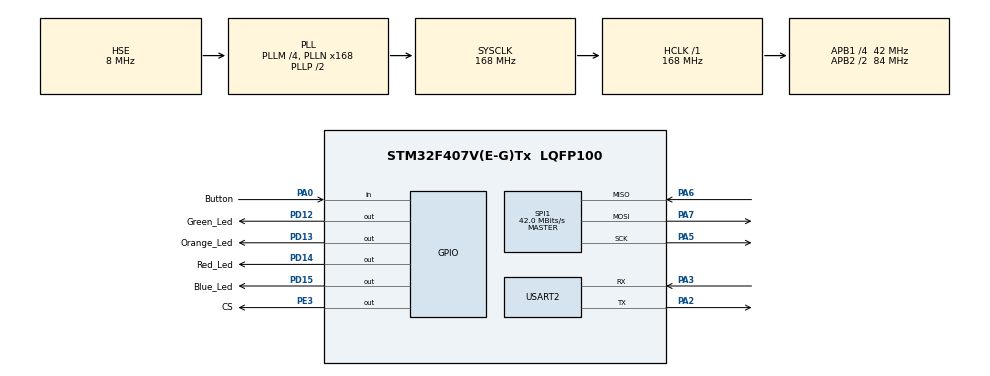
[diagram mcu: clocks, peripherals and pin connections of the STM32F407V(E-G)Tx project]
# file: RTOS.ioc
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FREERTOS.Mutexes01=dataMutex,Dynamic,NULL,Available
FREERTOS.Queues01=displayQueue,8,SystemData_t,0,Dynamic,NULL,NULL;flashQueue,8,SystemData_t,0,Dynamic,NULL,NULL
FREERTOS.Tasks01=orangeLed,32,128,StartDefaultTask,Default,NULL,Dynamic,NULL,NULL;greenLed,32,128,StartTask02,Default,NULL,Dynamic,NULL,NULL;redLed,32,128,StartTask03,Default,NULL,Dynamic,NULL,NULL;blueLed,32,128,StartTask04,Default,NULL,Dynamic,NULL,NULL;button,32,128,StartTask05,Default,NULL,Dynamic,NULL,NULL;gyro,32,128,StartTask06,Default,NULL,Dynamic,NULL,NULL;displayTask,24,512,StartDisplayTask,Default,NULL,Dynamic,NULL,NULL;flashTask,8,512,StartFlashTask,Default,NULL,Dynamic,NULL,NULL
FREERTOS.configCHECK_FOR_STACK_OVERFLOW=2
FREERTOS.configUSE_NEWLIB_REENTRANT=1
Mcu.Family=STM32F4
Mcu.Name=STM32F407V(E-G)Tx
Mcu.Package=LQFP100
NVIC.PriorityGroup=NVIC_PRIORITYGROUP_4
NVIC.TIM6_DAC_IRQn=true\:15\:0\:false\:false\:true\:false\:false\:true\:true
NVIC.TimeBase=TIM6_DAC_IRQn
NVIC.TimeBaseIP=TIM6
PA0-WKUP.GPIO_Label=Button
PA0-WKUP.Signal=GPIO_Input
PA13.Mode=Serial_Wire
PA13.Signal=SYS_JTMS-SWDIO
PA14.Mode=Serial_Wire
PA14.Signal=SYS_JTCK-SWCLK
PA2.Mode=Asynchronous
PA2.Signal=USART2_TX
PA3.Mode=Asynchronous
PA3.Signal=USART2_RX
PA5.Mode=Full_Duplex_Master
PA5.Signal=SPI1_SCK
PA6.Mode=Full_Duplex_Master
PA6.Signal=SPI1_MISO
PA7.Mode=Full_Duplex_Master
PA7.Signal=SPI1_MOSI
PD12.GPIO_Label=Green_Led
PD12.Signal=GPIO_Output
PD13.GPIO_Label=Orange_Led
PD13.Signal=GPIO_Output
PD14.GPIO_Label=Red_Led
PD14.Signal=GPIO_Output
PD15.GPIO_Label=Blue_Led
PD15.Signal=GPIO_Output
PE3.GPIO_Label=CS
PE3.PinState=GPIO_PIN_SET
PE3.Signal=GPIO_Output
PH0-OSC_IN.Mode=HSE-External-Oscillator
PH0-OSC_IN.Signal=RCC_OSC_IN
PH1-OSC_OUT.Mode=HSE-External-Oscillator
PH1-OSC_OUT.Signal=RCC_OSC_OUT
ProjectManager.HeapSize=0x200
ProjectManager.StackSize=0x400
ProjectManager.TargetToolchain=STM32CubeIDE
RCC.48MHZClocksFreq_Value=84000000
RCC.AHBFreq_Value=168000000
RCC.APB1CLKDivider=RCC_HCLK_DIV4
RCC.APB1Freq_Value=42000000
RCC.APB1TimFreq_Value=84000000
RCC.APB2CLKDivider=RCC_HCLK_DIV2
RCC.APB2Freq_Value=84000000
RCC.APB2TimFreq_Value=168000000
RCC.CortexFreq_Value=168000000
RCC.HCLKFreq_Value=168000000
RCC.HSE_VALUE=8000000
RCC.HSI_VALUE=16000000
RCC.LSE_VALUE=32768
RCC.PLLM=4
RCC.PLLN=168
RCC.PLLSourceVirtual=RCC_PLLSOURCE_HSE
RCC.SYSCLKFreq_VALUE=168000000
RCC.SYSCLKSource=RCC_SYSCLKSOURCE_PLLCLK
RCC.VCOOutputFreq_Value=336000000
SPI1.BaudRatePrescaler=SPI_BAUDRATEPRESCALER_2
SPI1.CLKPhase=SPI_PHASE_2EDGE
SPI1.CLKPolarity=SPI_POLARITY_LOW
SPI1.CalculateBaudRate=42.0 MBits/s
SPI1.Direction=SPI_DIRECTION_2LINES
SPI1.Mode=SPI_MODE_MASTER
SPI1.VirtualType=VM_MASTER
USART2.VirtualMode=VM_ASYNC
VP_FREERTOS_VS_CMSIS_V2.Mode=CMSIS_V2
VP_SYS_VS_tim6.Mode=TIM6
board=custom

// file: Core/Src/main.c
/* USER CODE BEGIN Header */
/**
  ******************************************************************************
  * @file           : main.c
  * @brief          : Main program body
  ******************************************************************************
  * @attention
  *
  * Copyright (c) 2026 STMicroelectronics.
  * All rights reserved.
  *
  * This software is licensed under terms that can be found in the LICENSE file
  * in the root directory of this software component.
  * If no LICENSE file comes with this software, it is provided AS-IS.
  *
  ******************************************************************************
  */
/* USER CODE END Header */
#include "main.h"
#include "cmsis_os.h"

/* USER CODE BEGIN Includes */

#include <stdio.h>
#include <string.h>
#include <stddef.h>

/* USER CODE END Includes */

/* USER CODE BEGIN PTD */

typedef struct
{
    uint32_t time_ms;

    int8_t acc_x;
    int8_t acc_y;
    int8_t acc_z;

    uint8_t motion_detected;
    uint8_t accel_ok;
    uint8_t green_led_state;

} SystemData_t;

typedef struct __attribute__((packed, aligned(4)))
{
    uint32_t magic;
    uint32_t time_ms;

    int8_t acc_x;
    int8_t acc_y;
    int8_t acc_z;

    uint8_t motion_detected;
    uint8_t accel_ok;
    uint8_t green_led_state;

    uint16_t crc;

} FlashRecord_t;

/* USER CODE END PTD */

/* USER CODE BEGIN PD */

#define FLASH_LOG_MAGIC          0x53454E53U

/*
 * STM32F407VGT6 1 MB flash için son sektör.
 * Sektör 11:
 * Başlangıç: 0x080E0000
 * Bitiş:     0x08100000
 */
#define FLASH_LOG_START_ADDRESS  0x080E0000U
#define FLASH_LOG_END_ADDRESS    0x08100000U

/* USER CODE END PD */

SPI_HandleTypeDef hspi1;

UART_HandleTypeDef huart2;

/* Definitions for orangeLed */
osThreadId_t orangeLedHandle;
const osThreadAttr_t orangeLed_attributes = {
  .name = "orangeLed",
  .stack_size = 128 * 4,
  .priority = (osPriority_t) osPriorityAboveNormal,
};
/* Definitions for greenLed */
osThreadId_t greenLedHandle;
const osThreadAttr_t greenLed_attributes = {
  .name = "greenLed",
  .stack_size = 128 * 4,
  .priority = (osPriority_t) osPriorityAboveNormal,
};
/* Definitions for redLed */
osThreadId_t redLedHandle;
const osThreadAttr_t redLed_attributes = {
  .name = "redLed",
  .stack_size = 128 * 4,
  .priority = (osPriority_t) osPriorityAboveNormal,
};
/* Definitions for blueLed */
osThreadId_t blueLedHandle;
const osThreadAttr_t blueLed_attributes = {
  .name = "blueLed",
  .stack_size = 128 * 4,
  .priority = (osPriority_t) osPriorityAboveNormal,
};
/* Definitions for button */
osThreadId_t buttonHandle;
const osThreadAttr_t button_attributes = {
  .name = "button",
  .stack_size = 128 * 4,
  .priority = (osPriority_t) osPriorityAboveNormal,
};
/* Definitions for gyro */
osThreadId_t gyroHandle;
const osThreadAttr_t gyro_attributes = {
  .name = "gyro",
  .stack_size = 128 * 4,
  .priority = (osPriority_t) osPriorityAboveNormal,
};
/* Definitions for displayTask */
osThreadId_t displayTaskHandle;
const osThreadAttr_t displayTask_attributes = {
  .name = "displayTask",
  .stack_size = 512 * 4,
  .priority = (osPriority_t) osPriorityNormal,
};
/* Definitions for flashTask */
osThreadId_t flashTaskHandle;
const osThreadAttr_t flashTask_attributes = {
  .name = "flashTask",
  .stack_size = 512 * 4,
  .priority = (osPriority_t) osPriorityLow,
};
/* Definitions for displayQueue */
osMessageQueueId_t displayQueueHandle;
const osMessageQueueAttr_t displayQueue_attributes = {
  .name = "displayQueue"
};
/* Definitions for flashQueue */
osMessageQueueId_t flashQueueHandle;
const osMessageQueueAttr_t flashQueue_attributes = {
  .name = "flashQueue"
};
/* Definitions for dataMutex */
osMutexId_t dataMutexHandle;
const osMutexAttr_t dataMutex_attributes = {
  .name = "dataMutex"
};
/* USER CODE BEGIN PV */

volatile uint8_t accel_ok = 0;
volatile uint8_t motion_detected = 0;
volatile uint8_t green_led_state = 0;

int8_t acc_x, acc_y, acc_z;

uint32_t flash_write_address = FLASH_LOG_START_ADDRESS;

/* USER CODE END PV */

void SystemClock_Config(void);
static void MX_GPIO_Init(void);
static void MX_SPI1_Init(void);
static void MX_USART2_UART_Init(void);
void StartDefaultTask(void *argument);
void StartTask02(void *argument);
void StartTask03(void *argument);
void StartTask04(void *argument);
void StartTask05(void *argument);
void StartTask06(void *argument);
void StartDisplayTask(void *argument);
void StartFlashTask(void *argument);

/* USER CODE BEGIN PFP */

static void Telemetry_SendJson(const SystemData_t *data);

static uint16_t Flash_CalculateCrc(
    const uint8_t *data,
    uint32_t length
);

static void FlashLog_Init(void);
static HAL_StatusTypeDef FlashLog_Erase(void);

static HAL_StatusTypeDef FlashLog_Append(
    const SystemData_t *data
);

/* USER CODE END PFP */

/* USER CODE BEGIN 0 */

#define LIS302DL_WHO_AM_I     0x0F
#define LIS302DL_CTRL_REG1    0x20
#define LIS302DL_OUT_X        0x29
#define LIS302DL_OUT_Y        0x2B
#define LIS302DL_OUT_Z        0x2D

#define LIS302DL_READ         0x80
#define LIS302DL_WHO_VALUE    0x3B

void LIS302DL_Write(uint8_t reg, uint8_t data)
{
    HAL_GPIO_WritePin(CS_GPIO_Port, CS_Pin, GPIO_PIN_RESET);
    HAL_SPI_Transmit(&hspi1, &reg, 1, HAL_MAX_DELAY);
    HAL_SPI_Transmit(&hspi1, &data, 1, HAL_MAX_DELAY);
    HAL_GPIO_WritePin(CS_GPIO_Port, CS_Pin, GPIO_PIN_SET);
}

uint8_t LIS302DL_Read(uint8_t reg)
{
    uint8_t tx[2] = {reg | 0x80, 0x00};
    uint8_t rx[2] = {0};

    HAL_GPIO_WritePin(CS_GPIO_Port, CS_Pin, GPIO_PIN_RESET);
    HAL_SPI_TransmitReceive(&hspi1, tx, rx, 2, HAL_MAX_DELAY);
    HAL_GPIO_WritePin(CS_GPIO_Port, CS_Pin, GPIO_PIN_SET);

    return rx[1];
}

uint8_t LIS302DL_Init(void)
{
    uint8_t id = LIS302DL_Read(LIS302DL_WHO_AM_I);

    if(id == 0x3B || id == 0x3F)
    {
        LIS302DL_Write(LIS302DL_CTRL_REG1, 0x47);
        return 1;
    }

    return 0;
}

static void Telemetry_SendJson(const SystemData_t *data)
{
    char message[160];

    int length = snprintf(
        message,
        sizeof(message),

        "{\"time\":%lu,"
        "\"x\":%d,"
        "\"y\":%d,"
        "\"z\":%d,"
        "\"motion\":%u,"
        "\"sensor_ok\":%u,"
        "\"green\":%u}\r\n",

        (unsigned long)data->time_ms,

        (int)data->acc_x,
        (int)data->acc_y,
        (int)data->acc_z,

        (unsigned int)data->motion_detected,
        (unsigned int)data->accel_ok,
        (unsigned int)data->green_led_state
    );

    if(length <= 0)
    {
        return;
    }

    if(length >= sizeof(message))
    {
        return;
    }

    HAL_UART_Transmit(
        &huart2,
        (uint8_t *)message,
        (uint16_t)length,
        100
    );
}

static uint16_t Flash_CalculateCrc(
    const uint8_t *data,
    uint32_t length
)
{
    uint16_t crc = 0xFFFF;

    for(uint32_t index = 0; index < length; index++)
    {
        crc ^= ((uint16_t)data[index] << 8);

        for(uint8_t bit = 0; bit < 8; bit++)
        {
            if(crc & 0x8000)
            {
                crc = (crc << 1) ^ 0x1021;
            }
            else
            {
                crc = crc << 1;
            }
        }
    }

    return crc;
}

static void FlashLog_Init(void)
{
    FlashRecord_t record;

    flash_write_address = FLASH_LOG_START_ADDRESS;

    while(
        flash_write_address + sizeof(FlashRecord_t)
        <= FLASH_LOG_END_ADDRESS
    )
    {
        memcpy(
            &record,
            (const void *)flash_write_address,
            sizeof(FlashRecord_t)
        );

        if(record.magic != FLASH_LOG_MAGIC)
        {
            break;
        }

        uint16_t calculated_crc =
            Flash_CalculateCrc(
                (const uint8_t *)&record,
                offsetof(FlashRecord_t, crc)
            );

        if(record.crc != calculated_crc)
        {
            break;
        }

        flash_write_address += sizeof(FlashRecord_t);
    }
}

static HAL_StatusTypeDef FlashLog_Erase(void)
{
    FLASH_EraseInitTypeDef erase_config;

    uint32_t sector_error = 0;

    memset(
        &erase_config,
        0,
        sizeof(erase_config)
    );

    erase_config.TypeErase =
        FLASH_TYPEERASE_SECTORS;

    erase_config.Sector =
        FLASH_SECTOR_11;

    erase_config.NbSectors = 1;

    erase_config.VoltageRange =
        FLASH_VOLTAGE_RANGE_3;

    HAL_FLASH_Unlock();

    HAL_StatusTypeDef status =
        HAL_FLASHEx_Erase(
            &erase_config,
            &sector_error
        );

    HAL_FLASH_Lock();

    if(status == HAL_OK)
    {
        flash_write_address =
            FLASH_LOG_START_ADDRESS;
    }

    return status;
}

static HAL_StatusTypeDef FlashLog_Append(
    const SystemData_t *data
)
{
    if(
        flash_write_address + sizeof(FlashRecord_t)
        > FLASH_LOG_END_ADDRESS
    )
    {
        if(FlashLog_Erase() != HAL_OK)
        {
            return HAL_ERROR;
        }
    }

    FlashRecord_t record;

    memset(
        &record,
        0,
        sizeof(record)
    );

    record.magic = FLASH_LOG_MAGIC;
    record.time_ms = data->time_ms;

    record.acc_x = data->acc_x;
    record.acc_y = data->acc_y;
    record.acc_z = data->acc_z;

    record.motion_detected =
        data->motion_detected;

    record.accel_ok =
        data->accel_ok;

    record.green_led_state =
        data->green_led_state;

    record.crc =
        Flash_CalculateCrc(
            (const uint8_t *)&record,
            offsetof(FlashRecord_t, crc)
        );

    HAL_FLASH_Unlock();

    HAL_StatusTypeDef status = HAL_OK;

    const uint32_t *words =
        (const uint32_t *)&record;

    uint32_t word_count =
        sizeof(FlashRecord_t) / sizeof(uint32_t);

    for(uint32_t index = 0; index < word_count; index++)
    {
        status = HAL_FLASH_Program(
            FLASH_TYPEPROGRAM_WORD,

            flash_write_address
            + index * sizeof(uint32_t),

            words[index]
        );

        if(status != HAL_OK)
        {
            break;
        }
    }

    HAL_FLASH_Lock();

    if(status == HAL_OK)
    {
        flash_write_address +=
            sizeof(FlashRecord_t);
    }

    return status;
}

/* USER CODE END 0 */

int main(void)
{

  /* MCU Configuration--------------------------------------------------------*/

  /* Reset of all peripherals, Initializes the Flash interface and the Systick. */
  HAL_Init();

  /* Configure the system clock */
  SystemClock_Config();

  /* Initialize all configured peripherals */
  MX_GPIO_Init();
  MX_SPI1_Init();
  MX_USART2_UART_Init();
  /* USER CODE BEGIN 2 */

  FlashLog_Init();

  /* USER CODE END 2 */

  /* Init scheduler */
  osKernelInitialize();
  /* Create the mutex(es) */
  /* creation of dataMutex */
  dataMutexHandle = osMutexNew(&dataMutex_attributes);

  /* Create the queue(s) */
  /* creation of displayQueue */
  displayQueueHandle = osMessageQueueNew (8, sizeof(SystemData_t), &displayQueue_attributes);

  /* creation of flashQueue */
  flashQueueHandle = osMessageQueueNew (8, sizeof(SystemData_t), &flashQueue_attributes);

  /* Create the thread(s) */
  /* creation of orangeLed */
  orangeLedHandle = osThreadNew(StartDefaultTask, NULL, &orangeLed_attributes);

  /* creation of greenLed */
  greenLedHandle = osThreadNew(StartTask02, NULL, &greenLed_attributes);

  /* creation of redLed */
  redLedHandle = osThreadNew(StartTask03, NULL, &redLed_attributes);

  /* creation of blueLed */
  blueLedHandle = osThreadNew(StartTask04, NULL, &blueLed_attributes);

  /* creation of button */
  buttonHandle = osThreadNew(StartTask05, NULL, &button_attributes);

  /* creation of gyro */
  gyroHandle = osThreadNew(StartTask06, NULL, &gyro_attributes);

  /* creation of displayTask */
  displayTaskHandle = osThreadNew(StartDisplayTask, NULL, &displayTask_attributes);

  /* creation of flashTask */
  flashTaskHandle = osThreadNew(StartFlashTask, NULL, &flashTask_attributes);

  /* Start scheduler */
  osKernelStart();

  /* We should never get here as control is now taken by the scheduler */

  /* Infinite loop */
  while (1)
  {

  }
}

void SystemClock_Config(void)
{
  RCC_OscInitTypeDef RCC_OscInitStruct = {0};
  RCC_ClkInitTypeDef RCC_ClkInitStruct = {0};

  /** Configure the main internal regulator output voltage
  */
  __HAL_RCC_PWR_CLK_ENABLE();
  __HAL_PWR_VOLTAGESCALING_CONFIG(PWR_REGULATOR_VOLTAGE_SCALE1);

  /** Initializes the RCC Oscillators according to the specified parameters
  * in the RCC_OscInitTypeDef structure.
  */
  RCC_OscInitStruct.OscillatorType = RCC_OSCILLATORTYPE_HSE;
  RCC_OscInitStruct.HSEState = RCC_HSE_ON;
  RCC_OscInitStruct.PLL.PLLState = RCC_PLL_ON;
  RCC_OscInitStruct.PLL.PLLSource = RCC_PLLSOURCE_HSE;
  RCC_OscInitStruct.PLL.PLLM = 4;
  RCC_OscInitStruct.PLL.PLLN = 168;
  RCC_OscInitStruct.PLL.PLLP = RCC_PLLP_DIV2;
  RCC_OscInitStruct.PLL.PLLQ = 4;
  if (HAL_RCC_OscConfig(&RCC_OscInitStruct) != HAL_OK)
  {
    Error_Handler();
  }

  /** Initializes the CPU, AHB and APB buses clocks
  */
  RCC_ClkInitStruct.ClockType = RCC_CLOCKTYPE_HCLK|RCC_CLOCKTYPE_SYSCLK
                              |RCC_CLOCKTYPE_PCLK1|RCC_CLOCKTYPE_PCLK2;
  RCC_ClkInitStruct.SYSCLKSource = RCC_SYSCLKSOURCE_PLLCLK;
  RCC_ClkInitStruct.AHBCLKDivider = RCC_SYSCLK_DIV1;
  RCC_ClkInitStruct.APB1CLKDivider = RCC_HCLK_DIV4;
  RCC_ClkInitStruct.APB2CLKDivider = RCC_HCLK_DIV2;

  if (HAL_RCC_ClockConfig(&RCC_ClkInitStruct, FLASH_LATENCY_5) != HAL_OK)
  {
    Error_Handler();
  }
}

static void MX_SPI1_Init(void)
{

  /* SPI1 parameter configuration*/
  hspi1.Instance = SPI1;
  hspi1.Init.Mode = SPI_MODE_MASTER;
  hspi1.Init.Direction = SPI_DIRECTION_2LINES;
  hspi1.Init.DataSize = SPI_DATASIZE_8BIT;
  hspi1.Init.CLKPolarity = SPI_POLARITY_LOW;
  hspi1.Init.CLKPhase = SPI_PHASE_2EDGE;
  hspi1.Init.NSS = SPI_NSS_SOFT;
  hspi1.Init.BaudRatePrescaler = SPI_BAUDRATEPRESCALER_2;
  hspi1.Init.FirstBit = SPI_FIRSTBIT_MSB;
  hspi1.Init.TIMode = SPI_TIMODE_DISABLE;
  hspi1.Init.CRCCalculation = SPI_CRCCALCULATION_DISABLE;
  hspi1.Init.CRCPolynomial = 10;
  if (HAL_SPI_Init(&hspi1) != HAL_OK)
  {
    Error_Handler();
  }

}

static void MX_USART2_UART_Init(void)
{

  huart2.Instance = USART2;
  huart2.Init.BaudRate = 115200;
  huart2.Init.WordLength = UART_WORDLENGTH_8B;
  huart2.Init.StopBits = UART_STOPBITS_1;
  huart2.Init.Parity = UART_PARITY_NONE;
  huart2.Init.Mode = UART_MODE_TX_RX;
  huart2.Init.HwFlowCtl = UART_HWCONTROL_NONE;
  huart2.Init.OverSampling = UART_OVERSAMPLING_16;
  if (HAL_UART_Init(&huart2) != HAL_OK)
  {
    Error_Handler();
  }

}

static void MX_GPIO_Init(void)
{
  GPIO_InitTypeDef GPIO_InitStruct = {0};

  /* GPIO Ports Clock Enable */
  __HAL_RCC_GPIOE_CLK_ENABLE();
  __HAL_RCC_GPIOH_CLK_ENABLE();
  __HAL_RCC_GPIOA_CLK_ENABLE();
  __HAL_RCC_GPIOD_CLK_ENABLE();

  /*Configure GPIO pin Output Level */
  HAL_GPIO_WritePin(CS_GPIO_Port, CS_Pin, GPIO_PIN_SET);

  /*Configure GPIO pin Output Level */
  HAL_GPIO_WritePin(GPIOD, Green_Led_Pin|Orange_Led_Pin|Red_Led_Pin|Blue_Led_Pin, GPIO_PIN_RESET);

  /*Configure GPIO pin : CS_Pin */
  GPIO_InitStruct.Pin = CS_Pin;
  GPIO_InitStruct.Mode = GPIO_MODE_OUTPUT_PP;
  GPIO_InitStruct.Pull = GPIO_NOPULL;
  GPIO_InitStruct.Speed = GPIO_SPEED_FREQ_LOW;
  HAL_GPIO_Init(CS_GPIO_Port, &GPIO_InitStruct);

  /*Configure GPIO pin : Button_Pin */
  GPIO_InitStruct.Pin = Button_Pin;
  GPIO_InitStruct.Mode = GPIO_MODE_INPUT;
  GPIO_InitStruct.Pull = GPIO_NOPULL;
  HAL_GPIO_Init(Button_GPIO_Port, &GPIO_InitStruct);

  /*Configure GPIO pins : Green_Led_Pin Orange_Led_Pin Red_Led_Pin Blue_Led_Pin */
  GPIO_InitStruct.Pin = Green_Led_Pin|Orange_Led_Pin|Red_Led_Pin|Blue_Led_Pin;
  GPIO_InitStruct.Mode = GPIO_MODE_OUTPUT_PP;
  GPIO_InitStruct.Pull = GPIO_NOPULL;
  GPIO_InitStruct.Speed = GPIO_SPEED_FREQ_LOW;
  HAL_GPIO_Init(GPIOD, &GPIO_InitStruct);

}

void StartDefaultTask(void *argument)
{
  /* USER CODE BEGIN 5 */
  /* Infinite loop */
  for(;;)
  {
	    HAL_GPIO_TogglePin(GPIOD, Orange_Led_Pin);
	    osDelay(500);
  }
  /* USER CODE END 5 */
}

void StartTask02(void *argument)
{
  /* USER CODE BEGIN StartTask02 */

  for(;;)
  {
    if(green_led_state)
    {
      HAL_GPIO_WritePin(
          GPIOD,
          Green_Led_Pin,
          GPIO_PIN_SET
      );
    }
    else
    {
      HAL_GPIO_WritePin(
          GPIOD,
          Green_Led_Pin,
          GPIO_PIN_RESET
      );
    }

    osDelay(50);
  }

  /* USER CODE END StartTask02 */
}

void StartTask03(void *argument)
{
  /* USER CODE BEGIN StartTask03 */
  /* Infinite loop */
  for(;;)
  {
	    if(accel_ok == 0)
	        HAL_GPIO_WritePin(GPIOD, Red_Led_Pin, GPIO_PIN_SET);
	    else
	        HAL_GPIO_WritePin(GPIOD, Red_Led_Pin, GPIO_PIN_RESET);

	    osDelay(100);
  }
  /* USER CODE END StartTask03 */
}

void StartTask04(void *argument)
{
  /* USER CODE BEGIN StartTask04 */
  /* Infinite loop */
  for(;;)
  {
	    if(motion_detected)
	    {
	        HAL_GPIO_TogglePin(GPIOD, Blue_Led_Pin);
	        osDelay(100);
	    }
	    else
	    {
	        HAL_GPIO_WritePin(GPIOD, Blue_Led_Pin, GPIO_PIN_RESET);
	        osDelay(100);
	    }
  }
  /* USER CODE END StartTask04 */
}

void StartTask05(void *argument)
{
  /* USER CODE BEGIN StartTask05 */
  /* Infinite loop */
  uint8_t last_state = 0;
  for(;;)
  {
	    uint8_t current_state = HAL_GPIO_ReadPin(Button_GPIO_Port, Button_Pin);

	    if(current_state == GPIO_PIN_SET && last_state == GPIO_PIN_RESET)
	    {
	        green_led_state = !green_led_state;
	        osDelay(200);
	    }

	    last_state = current_state;
	    osDelay(20);
  }
  /* USER CODE END StartTask05 */
}

void StartTask06(void *argument)
{
  /* USER CODE BEGIN StartTask06 */

  accel_ok = LIS302DL_Init();

  uint32_t last_flash_time = 0;

  for(;;)
  {
    if(accel_ok)
    {
      acc_x = (int8_t)LIS302DL_Read(
          LIS302DL_OUT_X
      );

      acc_y = (int8_t)LIS302DL_Read(
          LIS302DL_OUT_Y
      );

      acc_z = (int8_t)LIS302DL_Read(
          LIS302DL_OUT_Z
      );

      if(
          acc_x > 60 || acc_x < -60 ||
          acc_y > 60 || acc_y < -60 ||
          acc_z > 60 || acc_z < -60
      )
      {
        motion_detected = 1;
      }
      else
      {
        motion_detected = 0;
      }
    }
    else
    {
      motion_detected = 0;
    }

    SystemData_t current_data;

    current_data.time_ms = HAL_GetTick();

    current_data.acc_x = acc_x;
    current_data.acc_y = acc_y;
    current_data.acc_z = acc_z;

    current_data.motion_detected =
        motion_detected;

    current_data.accel_ok =
        accel_ok;

    current_data.green_led_state =
        green_led_state;

    osMessageQueuePut(
        displayQueueHandle,
        &current_data,
        0,
        0
    );

    if(
        HAL_GetTick() - last_flash_time
        >= 1000
    )
    {
      osMessageQueuePut(
          flashQueueHandle,
          &current_data,
          0,
          0
      );

      last_flash_time = HAL_GetTick();
    }

    osDelay(100);
  }

  /* USER CODE END StartTask06 */
}

void StartDisplayTask(void *argument)
{
  /* USER CODE BEGIN StartDisplayTask */

  SystemData_t received_data;

  for(;;)
  {
    osStatus_t queue_status =
        osMessageQueueGet(
            displayQueueHandle,
            &received_data,
            NULL,
            osWaitForever
        );

    if(queue_status == osOK)
    {
      Telemetry_SendJson(&received_data);
    }
  }

  /* USER CODE END StartDisplayTask */
}

void StartFlashTask(void *argument)
{
  /* USER CODE BEGIN StartFlashTask */

  SystemData_t received_data;

  for(;;)
  {
    osStatus_t queue_status =
        osMessageQueueGet(
            flashQueueHandle,
            &received_data,
            NULL,
            osWaitForever
        );

    if(queue_status == osOK)
    {
      FlashLog_Append(&received_data);
    }
  }

  /* USER CODE END StartFlashTask */
}

void HAL_TIM_PeriodElapsedCallback(TIM_HandleTypeDef *htim)
{
  if (htim->Instance == TIM6)
  {
    HAL_IncTick();
  }
}

void Error_Handler(void)
{
  __disable_irq();
  while (1)
  {
  }
}
